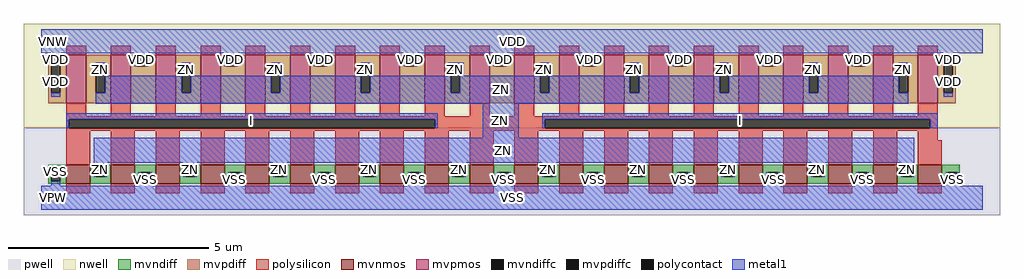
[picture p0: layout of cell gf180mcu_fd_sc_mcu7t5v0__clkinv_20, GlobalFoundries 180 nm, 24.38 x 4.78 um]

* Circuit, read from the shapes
.subckt gf180mcu_fd_sc_mcu7t5v0__clkinv_20 I ZN VDD VNW VPW VSS
XM1 ZN I VSS VPW nfet_06v0 w=0.48u l=0.6u m=20
XM2 ZN I VDD VNW pfet_06v0 w=1.22u l=0.5u m=20
.ends

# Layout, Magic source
magic
tech gf180mcuD
magscale 1 10
<< nwell >>
rect -86 352 4790 870
<< pwell >>
rect -86 -86 4790 352
<< mvnmos >>
rect 124 70 244 166
rect 348 70 468 166
rect 572 70 692 166
rect 796 70 916 166
rect 1020 70 1140 166
rect 1244 70 1364 166
rect 1468 70 1588 166
rect 1692 70 1812 166
rect 1916 70 2036 166
rect 2140 70 2260 166
rect 2364 70 2484 166
rect 2588 70 2708 166
rect 2812 70 2932 166
rect 3036 70 3156 166
rect 3260 70 3380 166
rect 3484 70 3604 166
rect 3708 70 3828 166
rect 3932 70 4052 166
rect 4156 70 4276 166
rect 4380 70 4500 166
<< mvpmos >>
rect 124 472 224 716
rect 348 472 448 716
rect 572 472 672 716
rect 796 472 896 716
rect 1020 472 1120 716
rect 1244 472 1344 716
rect 1468 472 1568 716
rect 1692 472 1792 716
rect 1916 472 2016 716
rect 2140 472 2240 716
rect 2364 472 2464 716
rect 2588 472 2688 716
rect 2812 472 2912 716
rect 3036 472 3136 716
rect 3260 472 3360 716
rect 3484 472 3584 716
rect 3708 472 3808 716
rect 3932 472 4032 716
rect 4156 472 4256 716
rect 4380 472 4480 716
<< mvndiff >>
rect 36 129 124 166
rect 36 83 49 129
rect 95 83 124 129
rect 36 70 124 83
rect 244 153 348 166
rect 244 107 273 153
rect 319 107 348 153
rect 244 70 348 107
rect 468 129 572 166
rect 468 83 497 129
rect 543 83 572 129
rect 468 70 572 83
rect 692 153 796 166
rect 692 107 721 153
rect 767 107 796 153
rect 692 70 796 107
rect 916 129 1020 166
rect 916 83 945 129
rect 991 83 1020 129
rect 916 70 1020 83
rect 1140 153 1244 166
rect 1140 107 1169 153
rect 1215 107 1244 153
rect 1140 70 1244 107
rect 1364 129 1468 166
rect 1364 83 1393 129
rect 1439 83 1468 129
rect 1364 70 1468 83
rect 1588 153 1692 166
rect 1588 107 1617 153
rect 1663 107 1692 153
rect 1588 70 1692 107
rect 1812 129 1916 166
rect 1812 83 1841 129
rect 1887 83 1916 129
rect 1812 70 1916 83
rect 2036 153 2140 166
rect 2036 107 2065 153
rect 2111 107 2140 153
rect 2036 70 2140 107
rect 2260 129 2364 166
rect 2260 83 2289 129
rect 2335 83 2364 129
rect 2260 70 2364 83
rect 2484 153 2588 166
rect 2484 107 2513 153
rect 2559 107 2588 153
rect 2484 70 2588 107
rect 2708 129 2812 166
rect 2708 83 2737 129
rect 2783 83 2812 129
rect 2708 70 2812 83
rect 2932 153 3036 166
rect 2932 107 2961 153
rect 3007 107 3036 153
rect 2932 70 3036 107
rect 3156 129 3260 166
rect 3156 83 3185 129
rect 3231 83 3260 129
rect 3156 70 3260 83
rect 3380 153 3484 166
rect 3380 107 3409 153
rect 3455 107 3484 153
rect 3380 70 3484 107
rect 3604 129 3708 166
rect 3604 83 3633 129
rect 3679 83 3708 129
rect 3604 70 3708 83
rect 3828 153 3932 166
rect 3828 107 3857 153
rect 3903 107 3932 153
rect 3828 70 3932 107
rect 4052 129 4156 166
rect 4052 83 4081 129
rect 4127 83 4156 129
rect 4052 70 4156 83
rect 4276 153 4380 166
rect 4276 107 4305 153
rect 4351 107 4380 153
rect 4276 70 4380 107
rect 4500 129 4588 166
rect 4500 83 4529 129
rect 4575 83 4588 129
rect 4500 70 4588 83
<< mvpdiff >>
rect 36 665 124 716
rect 36 525 49 665
rect 95 525 124 665
rect 36 472 124 525
rect 224 665 348 716
rect 224 525 273 665
rect 319 525 348 665
rect 224 472 348 525
rect 448 703 572 716
rect 448 657 477 703
rect 523 657 572 703
rect 448 472 572 657
rect 672 665 796 716
rect 672 525 701 665
rect 747 525 796 665
rect 672 472 796 525
rect 896 703 1020 716
rect 896 657 925 703
rect 971 657 1020 703
rect 896 472 1020 657
rect 1120 665 1244 716
rect 1120 525 1149 665
rect 1195 525 1244 665
rect 1120 472 1244 525
rect 1344 703 1468 716
rect 1344 657 1373 703
rect 1419 657 1468 703
rect 1344 472 1468 657
rect 1568 665 1692 716
rect 1568 525 1597 665
rect 1643 525 1692 665
rect 1568 472 1692 525
rect 1792 703 1916 716
rect 1792 657 1821 703
rect 1867 657 1916 703
rect 1792 472 1916 657
rect 2016 665 2140 716
rect 2016 525 2045 665
rect 2091 525 2140 665
rect 2016 472 2140 525
rect 2240 703 2364 716
rect 2240 657 2269 703
rect 2315 657 2364 703
rect 2240 472 2364 657
rect 2464 665 2588 716
rect 2464 525 2493 665
rect 2539 525 2588 665
rect 2464 472 2588 525
rect 2688 703 2812 716
rect 2688 657 2717 703
rect 2763 657 2812 703
rect 2688 472 2812 657
rect 2912 665 3036 716
rect 2912 525 2941 665
rect 2987 525 3036 665
rect 2912 472 3036 525
rect 3136 703 3260 716
rect 3136 657 3165 703
rect 3211 657 3260 703
rect 3136 472 3260 657
rect 3360 665 3484 716
rect 3360 525 3389 665
rect 3435 525 3484 665
rect 3360 472 3484 525
rect 3584 703 3708 716
rect 3584 657 3613 703
rect 3659 657 3708 703
rect 3584 472 3708 657
rect 3808 665 3932 716
rect 3808 525 3837 665
rect 3883 525 3932 665
rect 3808 472 3932 525
rect 4032 703 4156 716
rect 4032 657 4061 703
rect 4107 657 4156 703
rect 4032 472 4156 657
rect 4256 665 4380 716
rect 4256 525 4285 665
rect 4331 525 4380 665
rect 4256 472 4380 525
rect 4480 665 4568 716
rect 4480 525 4509 665
rect 4555 525 4568 665
rect 4480 472 4568 525
<< mvndiffc >>
rect 49 83 95 129
rect 273 107 319 153
rect 497 83 543 129
rect 721 107 767 153
rect 945 83 991 129
rect 1169 107 1215 153
rect 1393 83 1439 129
rect 1617 107 1663 153
rect 1841 83 1887 129
rect 2065 107 2111 153
rect 2289 83 2335 129
rect 2513 107 2559 153
rect 2737 83 2783 129
rect 2961 107 3007 153
rect 3185 83 3231 129
rect 3409 107 3455 153
rect 3633 83 3679 129
rect 3857 107 3903 153
rect 4081 83 4127 129
rect 4305 107 4351 153
rect 4529 83 4575 129
<< mvpdiffc >>
rect 49 525 95 665
rect 273 525 319 665
rect 477 657 523 703
rect 701 525 747 665
rect 925 657 971 703
rect 1149 525 1195 665
rect 1373 657 1419 703
rect 1597 525 1643 665
rect 1821 657 1867 703
rect 2045 525 2091 665
rect 2269 657 2315 703
rect 2493 525 2539 665
rect 2717 657 2763 703
rect 2941 525 2987 665
rect 3165 657 3211 703
rect 3389 525 3435 665
rect 3613 657 3659 703
rect 3837 525 3883 665
rect 4061 657 4107 703
rect 4285 525 4331 665
rect 4509 525 4555 665
<< polysilicon >>
rect 124 716 224 760
rect 348 716 448 760
rect 572 716 672 760
rect 796 716 896 760
rect 1020 716 1120 760
rect 1244 716 1344 760
rect 1468 716 1568 760
rect 1692 716 1792 760
rect 1916 716 2016 760
rect 2140 716 2240 760
rect 2364 716 2464 760
rect 2588 716 2688 760
rect 2812 716 2912 760
rect 3036 716 3136 760
rect 3260 716 3360 760
rect 3484 716 3584 760
rect 3708 716 3808 760
rect 3932 716 4032 760
rect 4156 716 4256 760
rect 4380 716 4480 760
rect 124 407 224 472
rect 348 407 448 472
rect 572 407 672 472
rect 796 407 896 472
rect 1020 407 1120 472
rect 1244 407 1344 472
rect 1468 407 1568 472
rect 1692 407 1792 472
rect 1916 407 2016 472
rect 2140 407 2240 472
rect 2364 407 2464 472
rect 2588 407 2688 472
rect 2812 407 2912 472
rect 3036 407 3136 472
rect 3260 407 3360 472
rect 3484 407 3584 472
rect 3708 407 3808 472
rect 3932 407 4032 472
rect 4156 407 4256 472
rect 4380 407 4480 472
rect 124 394 4480 407
rect 124 348 137 394
rect 1969 348 2515 394
rect 4441 348 4480 394
rect 124 335 4480 348
rect 124 166 244 335
rect 348 166 468 335
rect 572 166 692 335
rect 796 166 916 335
rect 1020 166 1140 335
rect 1244 166 1364 335
rect 1468 166 1588 335
rect 1692 166 1812 335
rect 1916 166 2036 335
rect 2140 166 2260 335
rect 2364 166 2484 335
rect 2588 166 2708 335
rect 2812 166 2932 335
rect 3036 166 3156 335
rect 3260 166 3380 335
rect 3484 166 3604 335
rect 3708 166 3828 335
rect 3932 166 4052 335
rect 4156 166 4276 335
rect 4380 288 4480 335
rect 4380 166 4500 288
rect 124 24 244 70
rect 348 24 468 70
rect 572 24 692 70
rect 796 24 916 70
rect 1020 24 1140 70
rect 1244 24 1364 70
rect 1468 24 1588 70
rect 1692 24 1812 70
rect 1916 24 2036 70
rect 2140 24 2260 70
rect 2364 24 2484 70
rect 2588 24 2708 70
rect 2812 24 2932 70
rect 3036 24 3156 70
rect 3260 24 3380 70
rect 3484 24 3604 70
rect 3708 24 3828 70
rect 3932 24 4052 70
rect 4156 24 4276 70
rect 4380 24 4500 70
<< polycontact >>
rect 137 348 1969 394
rect 2515 348 4441 394
<< metal1 >>
rect 0 724 4704 844
rect 49 665 95 724
rect 466 703 534 724
rect 49 506 95 525
rect 273 665 319 676
rect 466 657 477 703
rect 523 657 534 703
rect 914 703 982 724
rect 701 665 747 676
rect 319 525 701 611
rect 914 657 925 703
rect 971 657 982 703
rect 1362 703 1430 724
rect 1149 665 1195 676
rect 747 525 1149 611
rect 1362 657 1373 703
rect 1419 657 1430 703
rect 1810 703 1878 724
rect 1597 665 1643 676
rect 1195 525 1597 611
rect 1810 657 1821 703
rect 1867 657 1878 703
rect 2258 703 2326 724
rect 2034 665 2110 676
rect 2034 611 2045 665
rect 1643 525 2045 611
rect 2091 611 2110 665
rect 2258 657 2269 703
rect 2315 657 2326 703
rect 2706 703 2774 724
rect 2493 665 2539 676
rect 2091 525 2493 611
rect 2706 657 2717 703
rect 2763 657 2774 703
rect 3154 703 3222 724
rect 2941 665 2987 676
rect 2539 525 2941 611
rect 3154 657 3165 703
rect 3211 657 3222 703
rect 3602 703 3670 724
rect 3389 665 3435 676
rect 2987 525 3389 611
rect 3602 657 3613 703
rect 3659 657 3670 703
rect 4050 703 4118 724
rect 3837 665 3883 676
rect 3435 525 3837 611
rect 4050 657 4061 703
rect 4107 657 4118 703
rect 4285 665 4331 676
rect 3883 525 4285 611
rect 273 470 4331 525
rect 4509 665 4555 724
rect 4509 506 4555 525
rect 126 394 1980 424
rect 126 348 137 394
rect 1969 348 1980 394
rect 2206 301 2386 470
rect 2504 394 4480 424
rect 2504 348 2515 394
rect 4441 348 4480 394
rect 262 175 4362 301
rect 262 153 330 175
rect 49 129 95 140
rect 262 107 273 153
rect 319 107 330 153
rect 710 153 778 175
rect 49 60 95 83
rect 486 83 497 129
rect 543 83 554 129
rect 710 107 721 153
rect 767 107 778 153
rect 1158 153 1226 175
rect 486 60 554 83
rect 934 83 945 129
rect 991 83 1002 129
rect 1158 107 1169 153
rect 1215 107 1226 153
rect 1606 153 1674 175
rect 934 60 1002 83
rect 1382 83 1393 129
rect 1439 83 1450 129
rect 1606 107 1617 153
rect 1663 107 1674 153
rect 2054 153 2122 175
rect 1382 60 1450 83
rect 1830 83 1841 129
rect 1887 83 1898 129
rect 2054 107 2065 153
rect 2111 107 2122 153
rect 2502 153 2570 175
rect 1830 60 1898 83
rect 2278 83 2289 129
rect 2335 83 2346 129
rect 2502 107 2513 153
rect 2559 107 2570 153
rect 2950 153 3018 175
rect 2278 60 2346 83
rect 2726 83 2737 129
rect 2783 83 2794 129
rect 2950 107 2961 153
rect 3007 107 3018 153
rect 3398 153 3466 175
rect 2726 60 2794 83
rect 3174 83 3185 129
rect 3231 83 3242 129
rect 3398 107 3409 153
rect 3455 107 3466 153
rect 3846 153 3914 175
rect 3174 60 3242 83
rect 3622 83 3633 129
rect 3679 83 3690 129
rect 3846 107 3857 153
rect 3903 107 3914 153
rect 4294 153 4362 175
rect 3622 60 3690 83
rect 4070 83 4081 129
rect 4127 83 4138 129
rect 4294 107 4305 153
rect 4351 107 4362 153
rect 4070 60 4138 83
rect 4518 83 4529 129
rect 4575 83 4586 129
rect 4518 60 4586 83
rect 0 -60 4704 60
<< labels >>
flabel metal1 s 0 724 4704 844 0 FreeSans 600 0 0 0 VDD
port 3 nsew power bidirectional abutment
flabel metal1 s 49 129 95 140 0 FreeSans 600 0 0 0 VSS
port 6 nsew ground bidirectional abutment
flabel metal1 s 4285 611 4331 676 0 FreeSans 600 0 0 0 ZN
port 2 nsew default output
flabel metal1 s 126 348 1980 424 0 FreeSans 600 0 0 0 I
port 1 nsew default input
flabel nwell s 10 734 110 834 0 FreeSans 400 0 0 0 VNW
port 4 nsew power bidirectional
flabel pwell s 10 -50 110 50 0 FreeSans 400 0 0 0 VPW
port 5 nsew ground bidirectional
rlabel metal1 s 2504 348 4480 424 1 I
port 1 nsew default input
rlabel metal1 s 3837 611 3883 676 1 ZN
port 2 nsew default output
rlabel metal1 s 3389 611 3435 676 1 ZN
port 2 nsew default output
rlabel metal1 s 2941 611 2987 676 1 ZN
port 2 nsew default output
rlabel metal1 s 2493 611 2539 676 1 ZN
port 2 nsew default output
rlabel metal1 s 2034 611 2110 676 1 ZN
port 2 nsew default output
rlabel metal1 s 1597 611 1643 676 1 ZN
port 2 nsew default output
rlabel metal1 s 1149 611 1195 676 1 ZN
port 2 nsew default output
rlabel metal1 s 701 611 747 676 1 ZN
port 2 nsew default output
rlabel metal1 s 273 611 319 676 1 ZN
port 2 nsew default output
rlabel metal1 s 273 470 4331 611 1 ZN
port 2 nsew default output
rlabel metal1 s 2206 301 2386 470 1 ZN
port 2 nsew default output
rlabel metal1 s 262 175 4362 301 1 ZN
port 2 nsew default output
rlabel metal1 s 4294 107 4362 175 1 ZN
port 2 nsew default output
rlabel metal1 s 3846 107 3914 175 1 ZN
port 2 nsew default output
rlabel metal1 s 3398 107 3466 175 1 ZN
port 2 nsew default output
rlabel metal1 s 2950 107 3018 175 1 ZN
port 2 nsew default output
rlabel metal1 s 2502 107 2570 175 1 ZN
port 2 nsew default output
rlabel metal1 s 2054 107 2122 175 1 ZN
port 2 nsew default output
rlabel metal1 s 1606 107 1674 175 1 ZN
port 2 nsew default output
rlabel metal1 s 1158 107 1226 175 1 ZN
port 2 nsew default output
rlabel metal1 s 710 107 778 175 1 ZN
port 2 nsew default output
rlabel metal1 s 262 107 330 175 1 ZN
port 2 nsew default output
rlabel metal1 s 4509 657 4555 724 1 VDD
port 3 nsew power bidirectional abutment
rlabel metal1 s 4050 657 4118 724 1 VDD
port 3 nsew power bidirectional abutment
rlabel metal1 s 3602 657 3670 724 1 VDD
port 3 nsew power bidirectional abutment
rlabel metal1 s 3154 657 3222 724 1 VDD
port 3 nsew power bidirectional abutment
rlabel metal1 s 2706 657 2774 724 1 VDD
port 3 nsew power bidirectional abutment
rlabel metal1 s 2258 657 2326 724 1 VDD
port 3 nsew power bidirectional abutment
rlabel metal1 s 1810 657 1878 724 1 VDD
port 3 nsew power bidirectional abutment
rlabel metal1 s 1362 657 1430 724 1 VDD
port 3 nsew power bidirectional abutment
rlabel metal1 s 914 657 982 724 1 VDD
port 3 nsew power bidirectional abutment
rlabel metal1 s 466 657 534 724 1 VDD
port 3 nsew power bidirectional abutment
rlabel metal1 s 49 657 95 724 1 VDD
port 3 nsew power bidirectional abutment
rlabel metal1 s 4509 506 4555 657 1 VDD
port 3 nsew power bidirectional abutment
rlabel metal1 s 49 506 95 657 1 VDD
port 3 nsew power bidirectional abutment
rlabel metal1 s 4518 60 4586 129 1 VSS
port 6 nsew ground bidirectional abutment
rlabel metal1 s 4070 60 4138 129 1 VSS
port 6 nsew ground bidirectional abutment
rlabel metal1 s 3622 60 3690 129 1 VSS
port 6 nsew ground bidirectional abutment
rlabel metal1 s 3174 60 3242 129 1 VSS
port 6 nsew ground bidirectional abutment
rlabel metal1 s 2726 60 2794 129 1 VSS
port 6 nsew ground bidirectional abutment
rlabel metal1 s 2278 60 2346 129 1 VSS
port 6 nsew ground bidirectional abutment
rlabel metal1 s 1830 60 1898 129 1 VSS
port 6 nsew ground bidirectional abutment
rlabel metal1 s 1382 60 1450 129 1 VSS
port 6 nsew ground bidirectional abutment
rlabel metal1 s 934 60 1002 129 1 VSS
port 6 nsew ground bidirectional abutment
rlabel metal1 s 486 60 554 129 1 VSS
port 6 nsew ground bidirectional abutment
rlabel metal1 s 49 60 95 129 1 VSS
port 6 nsew ground bidirectional abutment
rlabel metal1 s 0 -60 4704 60 1 VSS
port 6 nsew ground bidirectional abutment
<< properties >>
string FIXED_BBOX 0 0 4704 784
string GDS_END 857594
string GDS_FILE $PDKPATH/libs.ref/gf180mcu_fd_sc_mcu7t5v0/gds/gf180mcu_fd_sc_mcu7t5v0.gds
string GDS_START 847270
string LEFclass core
string LEFsite GF018hv5v_mcu_sc7
string LEFsymmetry X Y
<< end >>
